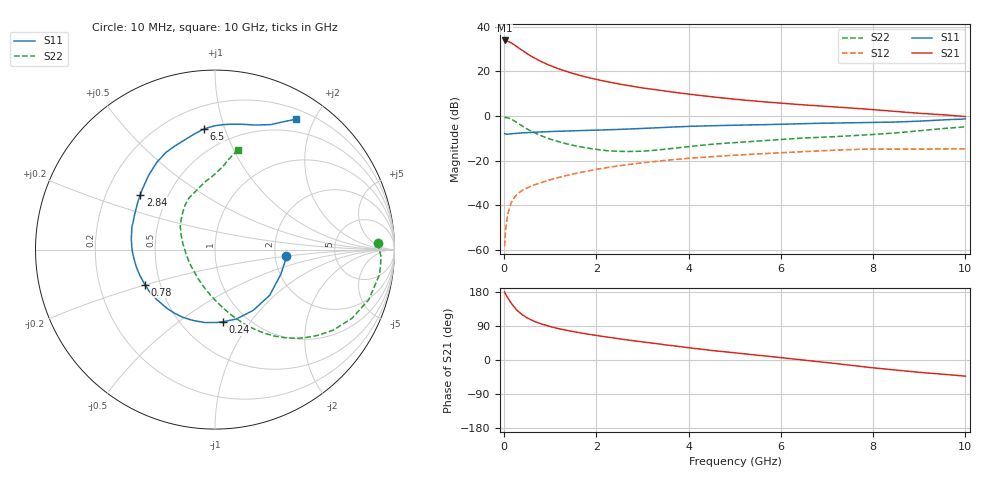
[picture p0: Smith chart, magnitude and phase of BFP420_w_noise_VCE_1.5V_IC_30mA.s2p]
! Infineon Technologies  Discrete & RF Semiconductors
! BFP420
! VCE =  1.5 V,  IC =  30 mA
! Common Emitter S-Parameters:  Jan 2016
# GHz  S  MA  R  50
!  f  S11  S21  S12  S22
! GHz  MAG  ANG  MAG  ANG  MAG  ANG  MAG  ANG
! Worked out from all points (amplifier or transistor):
!   233 points, 10 MHz to 10 GHz, reference 50 ohm
!   highest |S21| = 33.9 dB at 10 MHz (marker M1)
!   |S21| within 3 dB of that: start of sweep to 291.7 MHz
!   unconditionally stable (mu >= 1): start of sweep to 12.37 MHz; 1.468 GHz to end of sweep
!   at 200 MHz: K = 0.31, MSG = 34.7 dB, |S12| = -37.3 dB
!   at 1.74 GHz: K = 1.05, MAG = 20.0 dB, |S12| = -25.0 dB
!   at 10 GHz: K = 1.06, MAG = 5.8 dB, |S12| = -14.7 dB
!   lowest NFmin = 1.51 dB at 900 MHz
!   S11 on the Smith chart (normalised r, x): 10 MHz: 2.31, -0.21; 240 MHz: 0.78, -0.75; 780 MHz: 0.41, -0.20; 2.84 GHz: 0.35, +0.29; 6.5 GHz: 0.34, +0.85; 10 GHz: 0.32, +1.75
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0.01  0.3996 -5.4  49.33 179.5  0.0012 110.2  0.9074 2.2
0.02  0.3973 -8.4  48.52 176.1  0.0019 92.1  0.9265 -2.6
0.05  0.3917 -20.6  48.18 169.8  0.004 83.6  0.9276 -8.6
0.1  0.3968 -39.8  46.65 159.7  0.0077 78.2  0.9008 -18.1
0.125  0.3935 -48.8  45.13 155.1  0.0093 75.0  0.8746 -22.3
0.15  0.4 -57.7  43.91 150.3  0.011 72.8  0.8534 -26.7
0.2  0.4046 -72.9  40.78 142.2  0.0137 68.4  0.7974 -34.2
0.24  0.4046 -83.7  38.06 136.5  0.0157 65.5  0.7505 -39.3
0.34  0.4121 -105.6  32.17 124.6  0.0196 60.9  0.6425 -50.1
0.45  0.4201 -122.9  26.82 114.7  0.0231 58.2  0.5454 -59.0
0.6  0.428 -139.7  21.44 104.7  0.027 56.5  0.4478 -68.3
0.78  0.4366 -153.5  17.04 96.3  0.0315 56.1  0.3682 -76.8
0.98  0.4461 -164.8  13.73 88.8  0.0366 56.0  0.3074 -85.4
1.2  0.4553 -174.2  11.21 82.2  0.0422 55.8  0.2608 -94.4
1.68  0.4723 170.5  7.93 71.0  0.0549 54.1  0.2004 -113.4
2.84  0.5159 143.8  4.518 50.3  0.0851 45.4  0.1602 -164.2
3.4  0.5485 133.4  3.714 41.7  0.0985 40.1  0.1755 173.9
5.1  0.6209 110.3  2.317 17.6  0.1334 23.9  0.257 136.6
6.5  0.6747 95.3  1.77 -0.2  0.1586 10.9  0.3205 117.3
6.8  0.6833 92.2  1.687 -4.1  0.164 7.8  0.3296 113.0
8.4  0.7266 72.9  1.282 -25.7  0.1807 -10.3  0.4098 91.9
10  0.8553 58.1  0.968 -42.6  0.1833 -22.6  0.5692 77.1
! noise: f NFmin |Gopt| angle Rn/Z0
0.9  1.51  0.26  -155  0.13
1.8  1.78  0.33  -142  0.14
2.4  1.96  0.3  -136  0.18
3  1.98  0.38  -127  0.2
4  2.11  0.47  -111  0.31
5  2.57  0.53  -94  0.51
6  3  0.57  -82  0.74
